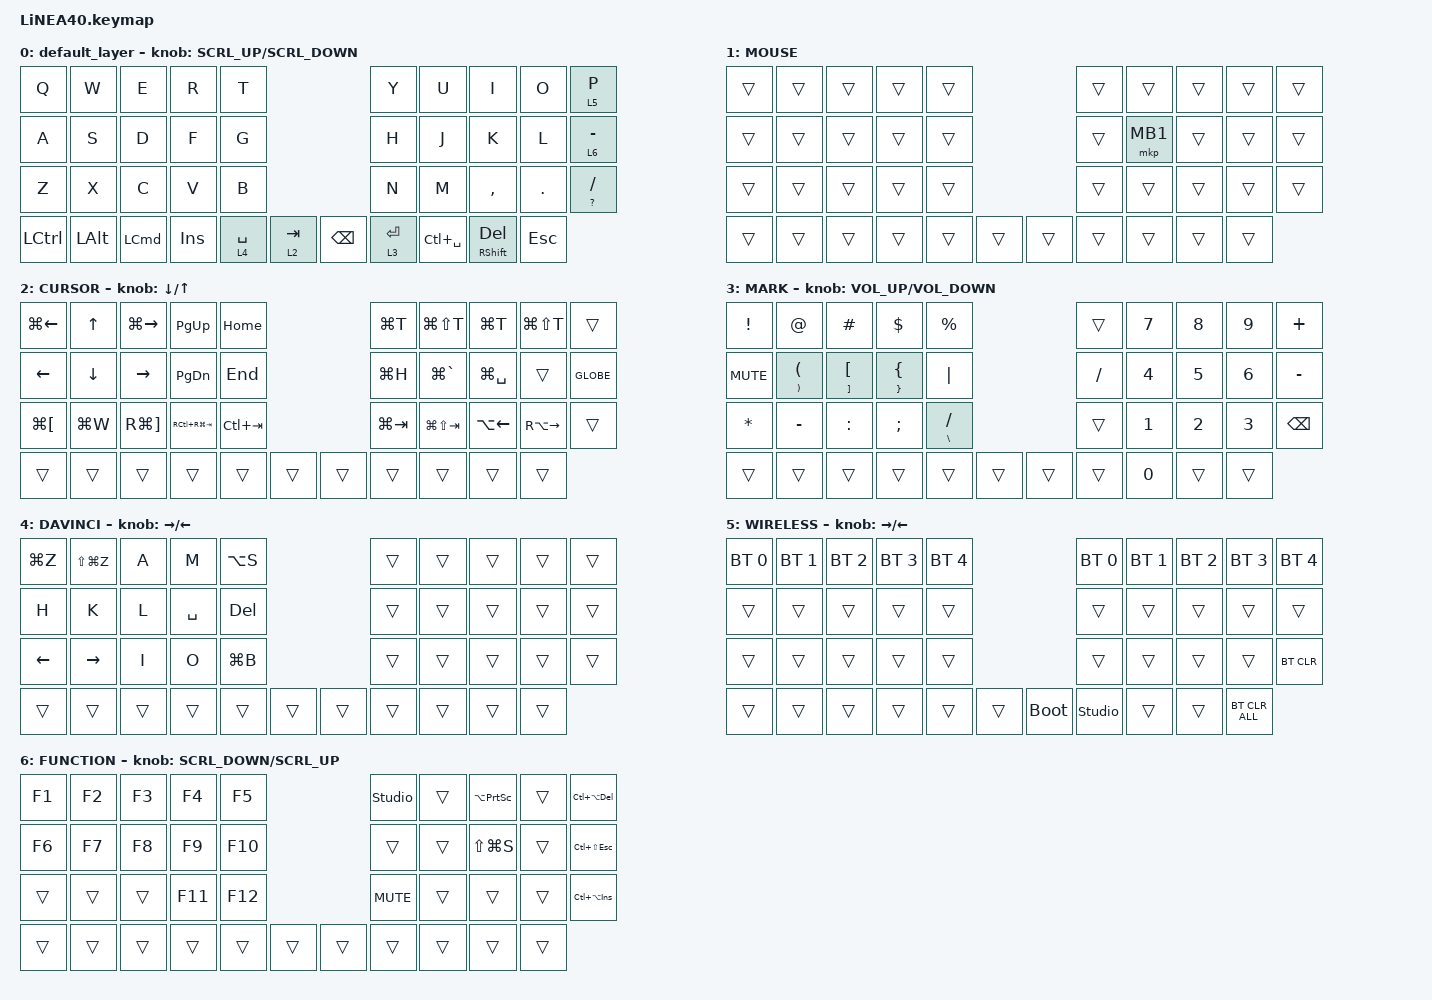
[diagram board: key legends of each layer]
#define ZMK_POINTING_DEFAULT_SCRL_VAL 150

#include <dt-bindings/zmk/input_transform.h>
#include <input/processors.dtsi>
#include <zephyr/dt-bindings/input/input-event-codes.h>
#include <behaviors.dtsi>
#include <dt-bindings/zmk/bt.h>
#include <dt-bindings/zmk/keys.h>
#include <dt-bindings/zmk/pointing.h>

#define MOUSE 1
#define MARK 2
#define CURSOR 3
#define FUNCTION 4
#define SCROLL 5
#define WIRELESS 6

//mouse cursol

&mmv {
    delay-ms = <20>;
    trigger-period-ms = <5>;
    time-to-max-speed-ms = <100>;
    acceleration-exponent = <2>;
};

//mouse scroll

&msc {
    delay-ms = <3>;
    trigger-period-ms = <3>;
    time-to-max-speed-ms = <100>;
    acceleration-exponent = <0>;
};

/ {
    input_processors {
        zip_wheel_scaler: zip_wheel_scaler {
            compatible = "zmk,input-processor-scaler";
            #input-processor-cells = <2>;
            type = <INPUT_EV_REL>;
            codes = <INPUT_REL_WHEEL>;
            track-remainders;
        };
    };
};

&msc_input_listener {
    speed_up {
        layers = <FUNCTION>;
        input-processors = <&zip_wheel_scaler 3 1>; //スクロールを3倍速にする
    };
};

&trackball_listener {
    scroller {
        layers = <SCROLL>;
        input-processors =
            <&zip_xy_transform INPUT_TRANSFORM_Y_INVERT>,
            //スクロール方向を逆転,,,,,,,,,,,,,,,,,,,,,,,,,,,,,,,,,,,,,,,,,,,,,,,,,,,,,,,,,,,,,,
            <&zip_xy_to_scroll_mapper>;
    };
};

/ {
    combos {
        compatible = "zmk,combos";

        ZenkakuHankaku {
            bindings = <&kp GRAVE>;
            key-positions = <11 12>;
        };

        DeleteKey {
            bindings = <&kp DEL>;
            key-positions = <7 8>;
        };

        InsertKey {
            bindings = <&kp INS>;
            key-positions = <6 7>;
        };

        CenterClick {
            bindings = <&mkp MB3>;
            key-positions = <17 16>;
        };

        RightClick {
            bindings = <&mkp MB2>;
            key-positions = <18 17>;
        };

        PrevClick {
            bindings = <&mkp MB4>;
            key-positions = <27 28>;
        };

        ClickNext {
            bindings = <&mkp MB5>;
            key-positions = <26 27>;
        };

        lc+space {
            bindings = <&kp LC(SPACE)>;
            key-positions = <38 39>;
        };
    };

    behaviors {
        re_kp: sensor_rotate_kp {
            compatible = "zmk,behavior-sensor-rotate-var";
            #sensor-binding-cells = <2>;
            bindings = <&kp>, <&kp>;
        };

        mouse_scrl: mouse_wheel_scrl {
            compatible = "zmk,behavior-sensor-rotate-var";
            #sensor-binding-cells = <2>;
            bindings = <&msc>, <&msc>;

            tap-ms = <20>;
        };
    };

    keymap {
        compatible = "zmk,keymap";

        default_layer {
            bindings = <
&kp Q      &kp W         &kp E             &kp R    &kp T                                    &kp Y        &kp U  &kp I          &kp O                &lt 5 P
&kp A      &kp S         &kp D             &kp F    &kp G                                    &kp H        &kp J  &kp K          &kp L                &lt 6 MINUS
&kp Z      &kp X         &kp C             &kp V    &kp B                                    &kp N        &kp M  &kp COMMA      &kp DOT              &mt QUESTION SLASH
&kp LCTRL  &kp LEFT_ALT  &kp LEFT_COMMAND  &kp INS  &lt 4 SPACE  &lt 2 TAB    &kp BACKSPACE  &lt 3 ENTER         &kp LC(SPACE)  &mt RIGHT_SHIFT DEL  &kp ESC
            >;

            sensor-bindings = <&mouse_scrl SCRL_UP SCRL_DOWN>;
        };

        MOUSE {
            bindings = <
&trans  &trans  &trans  &trans  &trans                    &trans  &trans    &trans  &trans  &trans
&trans  &trans  &trans  &trans  &trans                    &trans  &mkp MB1  &trans  &trans  &trans
&trans  &trans  &trans  &trans  &trans                    &trans  &trans    &trans  &trans  &trans
&trans  &trans  &trans  &trans  &trans  &trans    &trans  &trans            &trans  &trans  &trans
            >;
        };

        CURSOR {
            bindings = <
&kp LG(LEFT)          &kp UP          &kp LG(RIGHT)          &kp PG_UP        &kp HOME                       &kp LG(T)    &kp LG(LS(T))    &kp LG(T)      &kp LG(LS(T))  &trans
&kp LEFT_ARROW        &kp DOWN_ARROW  &kp RIGHT              &kp PAGE_DOWN    &kp END                        &kp LG(H)    &kp LG(GRAVE)    &kp LG(SPACE)  &trans         &kp GLOBE
&kp LG(LEFT_BRACKET)  &kp LG(W)       &kp RG(RIGHT_BRACKET)  &kp RC(RG(TAB))  &kp LC(TAB)                    &kp LG(TAB)  &kp LG(LS(TAB))  &kp LA(LEFT)   &kp RA(RIGHT)  &trans
&trans                &trans          &trans                 &trans           &trans       &trans    &trans  &trans                        &trans         &trans         &trans
            >;

            sensor-bindings = <&inc_dec_kp DOWN UP>;
        };

        MARK {
            bindings = <
&kp EXCLAMATION  &kp AT_SIGN                             &kp HASH                        &kp DOLLAR                  &kp PERCENT                            &trans     &kp N7  &kp N8  &kp N9  &kp PLUS
&kp C_MUTE       &mt RIGHT_PARENTHESIS LEFT_PARENTHESIS  &mt RIGHT_BRACKET LEFT_BRACKET  &mt RIGHT_BRACE LEFT_BRACE  &kp PIPE                               &kp SLASH  &kp N4  &kp N5  &kp N6  &kp MINUS
&kp ASTERISK     &kp MINUS                               &kp COLON                       &kp SEMICOLON               &mt BACKSLASH SLASH                    &trans     &kp N1  &kp N2  &kp N3  &kp BSPC
&trans           &trans                                  &trans                          &trans                      &trans               &trans    &trans  &trans             &kp N0  &trans  &trans
            >;

            sensor-bindings = <&re_kp C_VOLUME_UP C_VOLUME_DOWN>;
        };

        DAVINCI {
            bindings = <
&kp LG(Z)  &kp LS(LG(Z))  &kp A   &kp M      &kp LA(S)                    &trans  &trans  &trans  &trans  &trans
&kp H      &kp K          &kp L   &kp SPACE  &kp DEL                      &trans  &trans  &trans  &trans  &trans
&kp LEFT   &kp RIGHT      &kp I   &kp O      &kp LG(B)                    &trans  &trans  &trans  &trans  &trans
&trans     &trans         &trans  &trans     &trans     &trans    &trans  &trans          &trans  &trans  &trans
            >;

            sensor-bindings = <&inc_dec_kp RIGHT LEFT>;
        };

        WIRELESS {
            bindings = <
&bt BT_SEL 0  &bt BT_SEL 1  &bt BT_SEL 2  &bt BT_SEL 3  &bt BT_SEL 4                         &bt BT_SEL 0    &bt BT_SEL 1  &bt BT_SEL 2  &bt BT_SEL 3  &bt BT_SEL 4
&trans        &trans        &trans        &trans        &trans                               &trans          &trans        &trans        &trans        &trans
&trans        &trans        &trans        &trans        &trans                               &trans          &trans        &trans        &trans        &bt BT_CLR
&trans        &trans        &trans        &trans        &trans        &trans    &bootloader  &studio_unlock                &trans        &trans        &bt BT_CLR_ALL
            >;

            sensor-bindings = <&inc_dec_kp RIGHT_ARROW LEFT_ARROW>;
        };

        FUNCTION {
            bindings = <
&kp F1  &kp F2  &kp F3  &kp F4   &kp F5                     &studio_unlock  &trans  &kp LA(PRINTSCREEN)  &trans  &kp LC(LA(DELETE))
&kp F6  &kp F7  &kp F8  &kp F9   &kp F10                    &trans          &trans  &kp LS(LG(S))        &trans  &kp LC(LS(ESCAPE))
&trans  &trans  &trans  &kp F11  &kp F12                    &kp C_MUTE      &trans  &trans               &trans  &kp LC(LA(INS))
&trans  &trans  &trans  &trans   &trans   &trans    &trans  &trans                  &trans               &trans  &trans
            >;

            sensor-bindings = <&mouse_scrl SCRL_DOWN SCRL_UP>;
        };
    };
};
